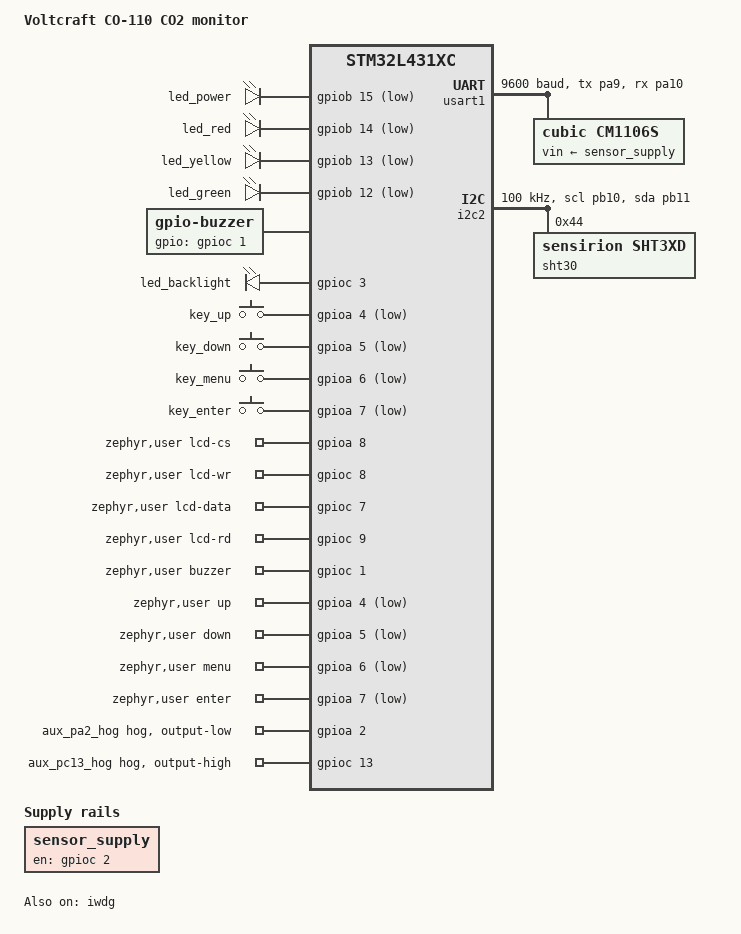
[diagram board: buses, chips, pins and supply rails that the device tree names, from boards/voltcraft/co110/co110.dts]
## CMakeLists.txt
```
# SPDX-License-Identifier: Apache-2.0
cmake_minimum_required(VERSION 3.20.0)

# Out-of-tree board definition lives next to the application
list(APPEND BOARD_ROOT ${CMAKE_CURRENT_SOURCE_DIR})
list(APPEND DTS_ROOT ${CMAKE_CURRENT_SOURCE_DIR})

find_package(Zephyr REQUIRED HINTS $ENV{ZEPHYR_BASE})
project(co110)

target_sources(app PRIVATE src/lcd.c src/display.c src/chart_level.c)
target_include_directories(app PRIVATE src)

if(CONFIG_APP_BITMAP_TEST)
  target_sources(app PRIVATE src/bitmap_test.c)
elseif(CONFIG_APP_DEMO)
  target_sources(app PRIVATE src/demo.c)
else()
  target_sources(app PRIVATE src/live.c src/watchdog.c src/startup.c src/sensor_tasks.c src/input.c src/led_swpwm.c src/ui.c src/history.c src/settings.c src/alarm.c src/leds.c src/sht30.c src/cm1106s.c)
endif()
```

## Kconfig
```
mainmenu "CO-110"

choice APP_VARIANT
	prompt "Application"
	default APP_LIVE

config APP_LIVE
	bool "Live display of the SHT30 and CM1106S sensors"

config APP_DEMO
	bool "Display demo with synthetic data"

config APP_BITMAP_TEST
	bool "LCD bit-map test"

endchoice

source "Kconfig.zephyr"
```

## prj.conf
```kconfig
CONFIG_GPIO=y
CONFIG_I2C=y
CONFIG_SENSOR=y
# SHT3XD driver is enabled by the devicetree node
# USART1 is wired to the CM1106S sensor, so there is no console on this board
CONFIG_SERIAL=y
CONFIG_UART_INTERRUPT_DRIVEN=y
CONFIG_CONSOLE=n
CONFIG_UART_CONSOLE=n

# Forces the MCU to keep the SWD/Debug clock enabled during low-power sleep states
CONFIG_DEBUG=y
CONFIG_PM_DEVICE=y

# software PWM of the LEDs runs from a 100 us timer
CONFIG_SYS_CLOCK_TICKS_PER_SEC=10000

# settings and chart history: Zephyr settings subsystem on NVS in the storage partition
CONFIG_FLASH=y
CONFIG_FLASH_MAP=y
CONFIG_NVS=y
CONFIG_SETTINGS=y
CONFIG_SETTINGS_NVS=y
# the whole storage partition (16 sectors of 2 KB) for NVS: wear leveling over all of it
CONFIG_SETTINGS_NVS_SECTOR_COUNT=16
# name lookups from RAM: the history uses 51 items, a lookup would read every name from flash otherwise
CONFIG_SETTINGS_NVS_NAME_CACHE=y
CONFIG_SETTINGS_NVS_NAME_CACHE_SIZE=128
CONFIG_MPU_ALLOW_FLASH_WRITE=y

# Zephyr LED API (driver: src/led_swpwm.c) and buzzer API (gpio-buzzer node in the board dts)
CONFIG_LED=y
CONFIG_BUZZER=y

# CM1106S supply: Zephyr regulator API (regulator-fixed node in the board dts)
CONFIG_REGULATOR=y

# touch keys: input subsystem (gpio-keys + longpress nodes in the board dts)
CONFIG_INPUT=y

# UI runs in the main thread (draws, writes NVS)
CONFIG_MAIN_STACK_SIZE=4096

# State Machine Framework (UI and start-up sequence)
CONFIG_SMF=y
CONFIG_SMF_ANCESTOR_SUPPORT=y

# watchdog: task watchdog on the IWDG, every thread feeds its own channel
CONFIG_WATCHDOG=y
CONFIG_TASK_WDT=y
CONFIG_TASK_WDT_HW_FALLBACK=y
```

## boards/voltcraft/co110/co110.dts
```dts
/dts-v1/;
#include <st/l4/stm32l431Xc.dtsi>
#include <st/l4/stm32l431r(b-c)tx-pinctrl.dtsi>
#include <zephyr/dt-bindings/gpio/gpio.h>
#include <zephyr/dt-bindings/i2c/i2c.h>
#include <zephyr/dt-bindings/input/input-event-codes.h>

/ {
	model = "Voltcraft CO-110 CO2 monitor";
	compatible = "voltcraft,co110";

	chosen {
		zephyr,sram = &sram0;
		zephyr,flash = &flash0;
	};

	aliases {
		led0 = &led_green;
	};

	/* LEDs are active low (anode to 3V3) */
	/* dimmable LEDs: software PWM driver (src/led_swpwm.c), Zephyr LED API */
	leds: leds {
		compatible = "voltcraft,swpwm-leds";
		led_power: led_power {	/* LD1, green */
			gpios = <&gpiob 15 GPIO_ACTIVE_LOW>;
		};
		led_red: led_red {	/* LD2 */
			gpios = <&gpiob 14 GPIO_ACTIVE_LOW>;
		};
		led_yellow: led_yellow {	/* LD3 */
			gpios = <&gpiob 13 GPIO_ACTIVE_LOW>;
		};
		led_green: led_green {	/* LD4 */
			gpios = <&gpiob 12 GPIO_ACTIVE_LOW>;
		};
	};

	/* active buzzer: Zephyr buzzer API */
	buzzer: buzzer {
		compatible = "gpio-buzzer";
		gpios = <&gpioc 1 GPIO_ACTIVE_HIGH>;
	};

	/* LCD backlight: Zephyr LED API (on/off), see src/backlight.h */
	backlight_leds: backlight {
		compatible = "gpio-leds";
		led_backlight: led_backlight {
			gpios = <&gpioc 3 GPIO_ACTIVE_HIGH>;
		};
	};

	/* CM1106S supply: regulator-fixed, off at boot; the cm1106s driver node switches it (PM resume/suspend) */
	sensor_supply: sensor-supply {
		compatible = "regulator-fixed";
		regulator-name = "cm1106s-supply";
		enable-gpios = <&gpioc 2 GPIO_ACTIVE_HIGH>;
	};

	/* touch controller outputs (FTC334C), active low, push to the input subsystem */
	keys: keys {
		compatible = "gpio-keys";
		debounce-interval-ms = <40>;
		key_up: key_up {
			gpios = <&gpioa 4 GPIO_ACTIVE_LOW>;
			zephyr,code = <INPUT_KEY_UP>;
		};
		key_down: key_down {
			gpios = <&gpioa 5 GPIO_ACTIVE_LOW>;
			zephyr,code = <INPUT_KEY_DOWN>;
		};
		key_menu: key_menu {
			gpios = <&gpioa 6 GPIO_ACTIVE_LOW>;
			zephyr,code = <INPUT_KEY_MENU>;
		};
		key_enter: key_enter {
			gpios = <&gpioa 7 GPIO_ACTIVE_LOW>;
			zephyr,code = <INPUT_KEY_ENTER>;
		};
	};

	/* MENU / ENTER: short press on release, long press (6 s) as F1 / F2 */
	longpress: longpress {
		compatible = "zephyr,input-longpress";
		input = <&keys>;
		input-codes = <INPUT_KEY_MENU>, <INPUT_KEY_ENTER>;
		short-codes = <INPUT_KEY_MENU>, <INPUT_KEY_ENTER>;
		long-codes = <INPUT_KEY_F1>, <INPUT_KEY_F2>;
		long-delay-ms = <6000>;
	};

	zephyr,user {
		/* HT1625-style LCD controller, bit-banged */
		lcd-cs-gpios = <&gpioa 8 GPIO_ACTIVE_HIGH>;	/* active low on the wire, driven raw */
		lcd-wr-gpios = <&gpioc 8 GPIO_ACTIVE_HIGH>;
		lcd-data-gpios = <&gpioc 7 GPIO_ACTIVE_HIGH>;
		lcd-rd-gpios = <&gpioc 9 GPIO_ACTIVE_HIGH>;

		buzzer-gpios = <&gpioc 1 GPIO_ACTIVE_HIGH>;

		/* touch controller outputs, active low; only used by the demo and bit-map test variants,
		 * the live application reads the keys through the "keys" gpio-keys node above */
		up-gpios = <&gpioa 4 GPIO_ACTIVE_LOW>;
		down-gpios = <&gpioa 5 GPIO_ACTIVE_LOW>;
		menu-gpios = <&gpioa 6 GPIO_ACTIVE_LOW>;
		enter-gpios = <&gpioa 7 GPIO_ACTIVE_LOW>;
	};
};

&flash0 {
	partitions {
		compatible = "fixed-partitions";
		#address-cells = <1>;
		#size-cells = <1>;

		/* last 32 KB (16 pages of 2 KB): settings and trend logs (NVS) */
		storage_partition: partition@38000 {
			label = "storage";
			reg = <0x00038000 DT_SIZE_K(32)>;
		};
	};
};

&iwdg {
	status = "okay";
};

&clk_lsi {
	status = "okay";
};

/* MSI range 10 = 32 MHz, no PLL (as in the original firmware) */
&clk_msi {
	status = "okay";
	msi-range = <10>;
};

&rcc {
	clocks = <&clk_msi>;
	clock-frequency = <DT_FREQ_M(32)>;
	ahb-prescaler = <1>;
	apb1-prescaler = <1>;
	apb2-prescaler = <1>;
};

&gpioa {
	status = "okay";

	/* PA2: driven low by the original firmware, purpose unknown */
	aux_pa2_hog: aux-pa2-hog {
		gpio-hog;
		gpios = <2 GPIO_ACTIVE_HIGH>;
		output-low;
	};
};

&gpiob { status = "okay"; };

&gpioc {
	status = "okay";

	/* PC13: set high by the original firmware, purpose unknown */
	aux_pc13_hog: aux-pc13-hog {
		gpio-hog;
		gpios = <13 GPIO_ACTIVE_HIGH>;
		output-high;
	};
};

/* CM1106S CO2 sensor, 9600 8N1 (driver: src/cm1106s.c, Zephyr sensor API) */
&usart1 {
	pinctrl-0 = <&usart1_tx_pa9 &usart1_rx_pa10>;
	pinctrl-names = "default";
	current-speed = <9600>;
	status = "okay";

	cm1106s: cm1106s {
		compatible = "cubic,cm1106s";
		vin-supply = <&sensor_supply>;
	};
};

/* SHT30 temperature/humidity sensor at 0x44 */
&i2c2 {
	pinctrl-0 = <&i2c2_scl_pb10 &i2c2_sda_pb11>;
	pinctrl-names = "default";
	clock-frequency = <I2C_BITRATE_STANDARD>;
	status = "okay";

	sht30: sht3xd@44 {
		compatible = "sensirion,sht3xd";
		reg = <0x44>;
	};
};
```

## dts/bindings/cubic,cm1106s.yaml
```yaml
description: |
  Cubic CM1106S NDIR CO2 sensor, UART interface (9600 8N1).
  Declare the node as a child of the UART it is connected to. The sensor supply
  can be given as a regulator; the driver switches it on when the device is
  resumed and off when it is suspended (PM_DEVICE_ACTION_SUSPEND), so the
  application can power cycle the sensor with pm_device_action_run().

  The sensor starts with auto calibration (ABC) on, cycle 7 days, base 400 ppm.
  If one of the abc-* properties below is given, the driver sends the complete ABC
  setting (missing values: the defaults above) after every power up, as soon as the
  sensor answers. Without any of them the sensor is left in its default state.

compatible: "cubic,cm1106s"

include: [sensor-device.yaml, uart-device.yaml]

properties:
  vin-supply:
    type: phandle
    description: Regulator that powers the sensor (optional)

  abc-enable:
    type: int
    enum: [0, 1]
    description: 1 = auto calibration on, 0 = off

  abc-cycle-days:
    type: int
    description: Auto calibration cycle in days (1 to 30)

  abc-base-ppm:
    type: int
    description: Auto calibration base value in ppm
```

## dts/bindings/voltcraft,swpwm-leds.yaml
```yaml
description: |
  Group of GPIO LEDs that can be dimmed. A software PWM timer (100 us step, 32 steps)
  runs inside the driver; the standard Zephyr LED API is used to set the brightness.
  The index of an LED in the LED API is the position of its child node.

compatible: "voltcraft,swpwm-leds"

include: base.yaml

child-binding:
  description: One LED
  properties:
    gpios:
      type: phandle-array
      required: true
      description: GPIO the LED is connected to (use GPIO_ACTIVE_LOW for LEDs to 3V3)
```

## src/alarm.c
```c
#include "alarm.h"

struct th {
	int low;
	int high;
};

static struct th table[PRESET_COUNT] = {
	{ 800, 1200 },   /* 0 human, user editable */
	{ 600, 900 },    /* 1 custom plant, user editable */
	{ 600, 900 },
	{ 800, 1000 },
	{ 1000, 1500 },
	{ 800, 1400 },
	{ 800, 1400 },
	{ 1200, 1800 },
	{ 800, 1200 },
	{ 800, 1200 },
};

void alarm_set_user_thresholds(int preset, int low, int high)
{
	if (preset == 0 || preset == 1) {
		table[preset].low = low;
		table[preset].high = high;
	}
}

void alarm_thresholds(int preset, int *low, int *high)
{
	if (preset < 0 || preset >= PRESET_COUNT) {
		preset = 0;
	}
	*low = table[preset].low;
	*high = table[preset].high;
}

enum zone alarm_evaluate(int co2, int preset, bool *buzzer_request)
{
	int low, high;

	alarm_thresholds(preset, &low, &high);
	*buzzer_request = false;

	if (preset == 0) {
		if (co2 < low) {
			return ZONE_OK;
		}
		if (co2 < high) {
			return ZONE_WARN;
		}
		*buzzer_request = true;
		return ZONE_ALERT;
	}

	if (co2 >= high) {
		return ZONE_WARN;
	}
	if (co2 > low) {
		return ZONE_OK;
	}
	*buzzer_request = true;
	return ZONE_ALERT;
}
```

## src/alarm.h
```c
#ifndef ALARM_H_
#define ALARM_H_

#include <stdbool.h>

/* Hardware independent CO2 zone logic of the original firmware. */
enum zone { ZONE_NONE = -1, ZONE_OK = 0, ZONE_WARN = 1, ZONE_ALERT = 2 };

#define PRESET_COUNT 10

/* user editable thresholds of preset 0 (human) and 1 (custom plant) */
void alarm_set_user_thresholds(int preset, int low, int high);

/* thresholds in ppm of a preset (0..9) */
void alarm_thresholds(int preset, int *low, int *high);

/*
 * preset 0 (human):  co2 < low OK, low <= co2 < high WARN, co2 >= high ALERT + buzzer
 * preset 1..9 (plant): low < co2 < high OK, co2 <= low ALERT + buzzer, co2 >= high WARN
 */
enum zone alarm_evaluate(int co2, int preset, bool *buzzer_request);

#endif
```

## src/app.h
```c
#ifndef APP_H_
#define APP_H_

#include <stdbool.h>
#include <zephyr/kernel.h>

/* messages for the UI thread (the main thread owns the display and all UI state) */
enum msg_type {
	MSG_KEY,            /* a = enum ui_event */
	MSG_COMBO,          /* UP + DOWN held: toggle dark mode */
	MSG_TH,             /* a = temperature in 0.1 degC, b = RH in % (SHT30, without offsets) */
	MSG_CO2,            /* a = ppm */
	MSG_CO2_LOST,       /* no valid CO2 frame for 40 polls, the sensor is being power cycled */
	MSG_BACKLIGHT_OFF,  /* 63 s timer expired */
	MSG_ALARM_BEEP,     /* periodic alarm beep timer */
	MSG_CALI_RESULT,    /* a = 1: the 400 ppm calibration was accepted, 0: the sensor did not confirm it */
};

struct msg {
	enum msg_type type;
	int a;
	int b;
};

extern struct k_msgq app_q;

static inline void co110_post(enum msg_type type, int a, int b)
{
	struct msg m = { type, a, b };

	(void)k_msgq_put(&app_q, &m, K_NO_WAIT); /* safe from threads, timers and ISRs */
}

/* UI -> CM1106S thread */
extern struct k_sem cali_sem;       /* given when the 400 ppm calibration has to be sent */
extern volatile bool co2_suspended; /* true during the 250 s calibration countdown */

/* touch keys: input subsystem callbacks, posts MSG_KEY / MSG_COMBO */
int co110_input_init(void);

#endif
```

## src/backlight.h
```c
#ifndef BACKLIGHT_H_
#define BACKLIGHT_H_

/* LCD backlight through the standard Zephyr LED API (gpio-leds node "backlight_leds" in the board dts) */
#include <stdbool.h>
#include <zephyr/device.h>
#include <zephyr/drivers/led.h>

#define BL_DEV DEVICE_DT_GET(DT_NODELABEL(backlight_leds))
#define BL_IDX DT_NODE_CHILD_IDX(DT_NODELABEL(led_backlight))

static inline void backlight_set(bool on)
{
	if (on) {
		(void)led_on(BL_DEV, BL_IDX);
	} else {
		(void)led_off(BL_DEV, BL_IDX);
	}
}

#endif
```

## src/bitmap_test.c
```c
/*
 * CO-110 LCD bit-map test.
 *
 * Start-up: LED chase, then all segments on for 2 s, then single-bit mode.
 *
 * Keys (touch pads):
 *   UP / DOWN  next / previous buffer bit (auto repeat); bit 7 -> next byte
 *   MENU       short: jump to bit 0 of the next byte
 *              long (1 s): cycle display mode  SINGLE -> CUMULATIVE -> INVERTED
 *   ENTER      short: cycle what the 4 LEDs show (beeps 1/2/3 times)
 *              long (1 s): toggle backlight
 *
 * LED field 1 (1 beep): bit index 0..7 on LD4 LD3 LD2 (LD4 = bit 0), LD1 off
 * LED field 2 (2 beeps): byte & 0x0F on LD4..LD1 (LD4 = bit 0)
 * LED field 3 (3 beeps): byte >> 4 (0..2) on LD4 LD3, LD2 always on as marker
 *
 * Write down the (byte, bit) of every segment you see light up.
 */
#include <zephyr/kernel.h>
#include <zephyr/drivers/gpio.h>
#include "lcd.h"
#include "backlight.h"

#define U DT_PATH(zephyr_user)
#define GPIO_OUT(name) GPIO_DT_SPEC_GET(U, name)

static const struct gpio_dt_spec buzzer = GPIO_OUT(buzzer_gpios);

/* index 0..3 = LD4 (green), LD3 (yellow), LD2 (red), LD1 (power) */
static const struct gpio_dt_spec leds[4] = {
	GPIO_DT_SPEC_GET(DT_NODELABEL(led_green), gpios),
	GPIO_DT_SPEC_GET(DT_NODELABEL(led_yellow), gpios),
	GPIO_DT_SPEC_GET(DT_NODELABEL(led_red), gpios),
	GPIO_DT_SPEC_GET(DT_NODELABEL(led_power), gpios),
};

enum { KB_UP, KB_DOWN, KB_MENU, KB_ENTER, KB_COUNT };

static const struct gpio_dt_spec keys[KB_COUNT] = {
	GPIO_OUT(up_gpios), GPIO_OUT(down_gpios),
	GPIO_OUT(menu_gpios), GPIO_OUT(enter_gpios),
};

enum mode { M_SINGLE, M_CUMUL, M_INVERT, M_COUNT };

#define TICK_MS 10
#define LONG_TICKS 100       /* 1 s */
#define REPEAT_START 40      /* 0.4 s */
#define REPEAT_EVERY 8       /* 80 ms */
#define TOTAL_BITS (LCD_FB_SIZE * 8)

static void leds_show(unsigned int v)
{
	for (int i = 0; i < 4; i++) {
		gpio_pin_set_dt(&leds[i], (v >> i) & 1);
	}
}

static void beep(int n)
{
	for (int i = 0; i < n; i++) {
		gpio_pin_set_dt(&buzzer, 1);
		k_msleep(50);
		gpio_pin_set_dt(&buzzer, 0);
		k_msleep(150);
	}
}

static void out_init(const struct gpio_dt_spec *p, int level)
{
	gpio_pin_configure_dt(p, level ? GPIO_OUTPUT_ACTIVE : GPIO_OUTPUT_INACTIVE);
}

int main(void)
{
	/* board state like the original firmware after MX_GPIO_Init */
	out_init(&buzzer, 0);
	backlight_set(true);
	for (int i = 0; i < 4; i++) {
		out_init(&leds[i], 0);
	}
	for (int i = 0; i < KB_COUNT; i++) {
		gpio_pin_configure_dt(&keys[i], GPIO_INPUT);
	}

	if (lcd_init() != 0) {
		leds_show(0xF); /* all LEDs on = LCD GPIO not ready */
		return 0;
	}

	/* LED chase, then all segments on */
	for (int i = 3; i >= 0; i--) {
		leds_show(BIT(i));
		k_msleep(250);
	}
	lcd_fill(0xFF);
	lcd_flush();
	leds_show(0xF);
	k_msleep(2000);

	unsigned int idx = 0;
	enum mode mode = M_SINGLE;
	int field = 0;
	bool bl = true;
	bool dirty = true;
	int held[KB_COUNT] = { 0 };
	bool long_done[KB_COUNT] = { false };

	while (1) {
		for (int k = 0; k < KB_COUNT; k++) {
			bool pressed = gpio_pin_get_dt(&keys[k]) > 0;

			if (pressed) {
				held[k]++;
				if (k == KB_UP || k == KB_DOWN) {
					bool fire = (held[k] == 1) ||
						    (held[k] > REPEAT_START &&
						     ((held[k] - REPEAT_START) % REPEAT_EVERY) == 0);
					if (fire) {
						if (k == KB_UP) {
							idx = (idx + 1) % TOTAL_BITS;
						} else {
							idx = (idx + TOTAL_BITS - 1) % TOTAL_BITS;
						}
						dirty = true;
					}
				} else if (held[k] == LONG_TICKS) {
					long_done[k] = true;
					if (k == KB_MENU) {
						mode = (mode + 1) % M_COUNT;
						dirty = true;
					} else {
						bl = !bl;
						backlight_set(bl);
					}
				}
			} else {
				if (held[k] > 2 && !long_done[k]) {
					if (k == KB_MENU) {
						idx = ((idx / 8) + 1) * 8 % TOTAL_BITS;
						dirty = true;
					} else if (k == KB_ENTER) {
						field = (field + 1) % 3;
						dirty = true;
						beep(field + 1);
					}
				}
				held[k] = 0;
				long_done[k] = false;
			}
		}

		if (dirty) {
			unsigned int byte = idx / 8, bit = idx % 8;

			switch (mode) {
			case M_SINGLE:
				lcd_fill(0x00);
				lcd_set(byte, bit, true);
				break;
			case M_CUMUL:
				lcd_fill(0x00);
				for (unsigned int i = 0; i <= idx; i++) {
					lcd_set(i / 8, i % 8, true);
				}
				break;
			default:
				lcd_fill(0xFF);
				lcd_set(byte, bit, false);
				break;
			}
			lcd_flush();

			if (field == 0) {
				leds_show(bit & 7);
			} else if (field == 1) {
				leds_show(byte & 0xF);
			} else {
				leds_show((byte >> 4) | BIT(2));
			}
			dirty = false;
		}
		k_msleep(TICK_MS);
	}
	return 0;
}
```

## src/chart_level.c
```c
#include "chart_level.h"

int co110_chart_level(int vmin, int vmax, int value)
{
	const int range = vmax - vmin;
	const int d = (value - vmin) * CHART_STEPS; /* the value is at d / range steps above vmin */

	if (value < vmin) {
		return 0;
	}
	if (d < range) {
		return 1;
	}
	if (vmax <= value) {
		return 8;
	}
	for (int k = 1; k < 8; k++) {
		if (d >= k * range && d <= (k + 1) * range) {
			return k + 1;
		}
	}
	return 8;
}
```

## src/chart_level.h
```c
#ifndef CHART_LEVEL_H_
#define CHART_LEVEL_H_

/*
 * Bar height 0..8 of a value inside a chart whose scale runs from vmin to vmax, as the original
 * firmware computes it (FUN_08000d20): the range is split into 8 equal steps,
 *   value < vmin              -> 0
 *   value < vmin + 1 step     -> 1
 *   vmax <= value             -> 8      (also a chart of one value or of equal values)
 *   otherwise the step the value falls into (2..8)
 * The same function draws the dot columns (the value of the column) and the eight row arrows
 * (the value 1000, the 1000 ppm mark of the CO2 scale).
 */
int co110_chart_level(int vmin, int vmax, int value);

/*
 * The original divides the range (max - min) by a double constant stored at flash address
 * 0x08000E38 (FUN_0800049c is a double division, called from FUN_08000d20) to get the step.
 * Read from the flash image: 8.0 (bytes 00 00 00 00 00 00 20 40), so 8 equal steps.
 */
#define CHART_STEPS 8

#endif
```

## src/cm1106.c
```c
#include <errno.h>
#include <zephyr/kernel.h>
#include <zephyr/device.h>
#include <zephyr/drivers/uart.h>
#include <zephyr/sys/ring_buffer.h>
#include "sensors.h"

static const struct device *const uart = DEVICE_DT_GET(DT_NODELABEL(usart1));

/* received bytes: the ISR is the only producer, the sensor thread the only consumer */
#define RX_SIZE 64
RING_BUF_DECLARE(cm1106_rx_rb, RX_SIZE);

/* drop everything received so far */
static void rx_flush(void)
{
	uint8_t tmp[RX_SIZE];

	while (ring_buf_get(&cm1106_rx_rb, tmp, sizeof(tmp)) > 0) {
	}
}

static void uart_isr(const struct device *dev, void *user)
{
	ARG_UNUSED(user);

	uart_irq_update(dev);
	while (uart_irq_rx_ready(dev)) {
		uint8_t c[16];
		int n = uart_fifo_read(dev, c, sizeof(c));

		if (n <= 0) {
			break;
		}
		ring_buf_put(&cm1106_rx_rb, c, n); /* a full buffer drops the new bytes */
	}
}

int cm1106_init(void)
{
	if (!device_is_ready(uart)) {
		return -ENODEV;
	}
	uart_irq_callback_user_data_set(uart, uart_isr, NULL);
	uart_irq_rx_enable(uart);
	return 0;
}

void cm1106_request(void)
{
	static const uint8_t req[4] = { 0x11, 0x01, 0x01, 0xED };

	rx_flush(); /* drop old bytes */
	for (int i = 0; i < 4; i++) {
		uart_poll_out(uart, req[i]);
	}
}

bool cm1106_get_result(int *ppm)
{
	uint8_t f[RX_SIZE];
	int n = ring_buf_get(&cm1106_rx_rb, f, sizeof(f));

	for (int i = 0; i + 8 <= n; i++) {
		if (f[i] != 0x16 || f[i + 1] != 0x05 || f[i + 2] != 0x01) {
			continue;
		}
		uint8_t sum = 0;

		for (int k = 0; k < 7; k++) {
			sum += f[i + k];
		}
		if ((uint8_t)(0x100 - sum) == f[i + 7]) {
			*ppm = (f[i + 3] << 8) | f[i + 4];
			return true;
		}
	}
	return false;
}

bool cm1106_calibrate(int ppm)
{
	uint8_t f[6] = { 0x11, 0x03, 0x03, (uint8_t)(ppm >> 8), (uint8_t)ppm, 0 };
	uint8_t sum = 0;

	for (int i = 0; i < 5; i++) {
		sum += f[i];
	}
	f[5] = (uint8_t)(0x100 - sum);

	for (int attempt = 0; attempt < 10; attempt++) {
		rx_flush();
		for (int i = 0; i < 6; i++) {
			uart_poll_out(uart, f[i]);
		}
		k_msleep(50);

		uint8_t r[RX_SIZE];
		int n = ring_buf_get(&cm1106_rx_rb, r, sizeof(r));

		for (int i = 0; i + 4 <= n; i++) {
			if (r[i] == 0x16 && r[i + 1] == 0x01 && r[i + 2] == 0x03 && r[i + 3] == 0xE6) {
				return true;
			}
		}
	}
	return false;
}
```

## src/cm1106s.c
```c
/*
 * Cubic CM1106S CO2 sensor driver (UART, 9600 8N1), Zephyr sensor API.
 * Protocol: datasheet CM1106S-W V0.1 (2020-06-18), section "UART Communication Protocol".
 *
 *   request  11 LEN CMD DATA.. CS     LEN = 1 + number of data bytes
 *   reply    16 LEN CMD DATA.. CS
 *   CS = 256 - (sum of all bytes before it) mod 256, i.e. the sum of a whole frame is 0 mod 256
 *
 *   CMD 0x01  read CO2         request 11 01 01 ED      reply 16 05 01 D1 D2 D3 D4 CS, CO2 = D1*256 + D2 ppm
 *   CMD 0x03  calibrate        request 11 03 03 HI LO CS  (target 400 to 1500 ppm)   reply 16 01 03 E6
 *   CMD 0x10  ABC settings     request 11 07 10 64 EN DAYS BH BL 64 CS               reply 16 01 10 D9
 *   CMD 0x1F  serial number    request 11 01 1F CF      reply 16 0B 1F SN1..SN5 (2 bytes each) CS
 *   CMD 0x1E  software version request 11 01 1E D0      reply 16 0C 1E 10 ASCII bytes, 1 reserved, CS
 *
 * API:
 *   sensor_sample_fetch_chan(dev, SENSOR_CHAN_CO2) + sensor_channel_get(): CO2 in ppm (val1)
 *   sensor_attr_set(dev, SENSOR_CHAN_CO2, SENSOR_ATTR_CALIBRATION, val1 = reference ppm)
 *   ABC attributes and serial number / version functions: see cm1106s.h
 * Power: PM_DEVICE_ACTION_SUSPEND / RESUME switch the optional vin-supply regulator.
 *
 * Not built or tested on the device when this was written (the read and calibration commands
 * are the ones the original firmware uses; ABC, serial number and version are new).
 */
#define DT_DRV_COMPAT cubic_cm1106s

#include <errno.h>
#include <string.h>
#include <zephyr/kernel.h>
#include <zephyr/device.h>
#include <zephyr/drivers/uart.h>
#include <zephyr/drivers/sensor.h>
#include <zephyr/drivers/regulator.h>
#include <zephyr/pm/device.h>
#include <zephyr/sys/ring_buffer.h>
#include "cm1106s.h"

#define RX_SIZE            64
#define MEASURE_TIMEOUT_MS 300
#define CMD_TIMEOUT_MS     300 /* every other command; the original firmware waited 50 ms per calibration try */

#define FRAME_REQ  0x11
#define FRAME_RSP  0x16
#define CMD_READ_CO2  0x01
#define CMD_CALIBRATE 0x03
#define CMD_ABC       0x10
#define CMD_VERSION   0x1E
#define CMD_SERIAL    0x1F

#define MAX_TX_DATA 8
#define MAX_RX_DATA 11

#define CAL_MIN_PPM 400
#define CAL_MAX_PPM 1500
#define ABC_MIN_DAYS 1
#define ABC_MAX_DAYS 30

/* datasheet defaults of the auto calibration */
#define ABC_DEFAULT_ENABLE 1
#define ABC_DEFAULT_DAYS   7
#define ABC_DEFAULT_BASE   400

struct cm1106s_abc {
	uint8_t enable; /* 1 = on */
	uint8_t days;
	uint16_t base_ppm;
};

struct cm1106s_config {
	const struct device *uart;
	const struct device *supply; /* NULL when the sensor is always powered */
	bool abc_from_dt;            /* send the ABC setting after every power up */
	struct cm1106s_abc abc_dt;
};

struct cm1106s_data {
	struct ring_buf rb;           /* ISR is the only producer, the caller the only consumer */
	uint8_t rb_mem[RX_SIZE];
	struct k_sem rx_sem;          /* given by the ISR for every received chunk */
	struct k_mutex lock;          /* one transaction at a time */
	int32_t ppm;
	bool active;
	struct cm1106s_abc abc;       /* what the sensor has been told last (it cannot be read back) */
	bool abc_pending;             /* send the ABC setting after the next successful reading */
};

static uint8_t cm1106s_sum(const uint8_t *f, size_t len)
{
	uint8_t sum = 0;

	for (size_t i = 0; i < len; i++) {
		sum += f[i];
	}
	return sum;
}

static void cm1106s_isr(const struct device *uart, void *user)
{
	const struct device *dev = user;
	struct cm1106s_data *data = dev->data;

	uart_irq_update(uart);
	while (uart_irq_rx_ready(uart)) {
		uint8_t c[16];
		int n = uart_fifo_read(uart, c, sizeof(c));

		if (n <= 0) {
			break;
		}
		ring_buf_put(&data->rb, c, n); /* a full buffer drops the new bytes */
		k_sem_give(&data->rx_sem);
	}
}

/* drop everything received so far; the RX interrupt is off while the buffer is reset */
static void cm1106s_flush(const struct device *dev)
{
	const struct cm1106s_config *cfg = dev->config;
	struct cm1106s_data *data = dev->data;
	uint8_t c;

	uart_irq_rx_disable(cfg->uart);
	while (uart_fifo_read(cfg->uart, &c, 1) > 0) {
	}
	ring_buf_reset(&data->rb);
	k_sem_reset(&data->rx_sem);
	uart_irq_rx_enable(cfg->uart);
}

/*
 * One command: send 11 LEN CMD tx.. CS, wait for 16 LEN CMD rx.. CS (rx_len data bytes).
 * check_cs: verify the checksum of the reply. The caller holds the lock.
 */
static int cm1106s_cmd_locked(const struct device *dev, uint8_t cmd, const uint8_t *tx,
			      size_t tx_len, uint8_t *rx, size_t rx_len, int timeout_ms,
			      bool check_cs)
{
	const struct cm1106s_config *cfg = dev->config;
	struct cm1106s_data *data = dev->data;
	uint8_t req[4 + MAX_TX_DATA];
	const uint8_t head[3] = { FRAME_RSP, (uint8_t)(rx_len + 1), cmd };
	const size_t req_len = 4 + tx_len;
	const size_t rsp_len = 4 + rx_len;
	uint8_t buf[RX_SIZE];
	size_t n = 0;

	if (tx_len > MAX_TX_DATA || rx_len > MAX_RX_DATA) {
		return -EINVAL;
	}
	if (!data->active) {
		return -EACCES; /* suspended: sensor not powered */
	}

	req[0] = FRAME_REQ;
	req[1] = (uint8_t)(tx_len + 1);
	req[2] = cmd;
	if (tx_len > 0) {
		memcpy(&req[3], tx, tx_len);
	}
	req[req_len - 1] = (uint8_t)(0x100 - cm1106s_sum(req, req_len - 1));

	cm1106s_flush(dev);
	for (size_t i = 0; i < req_len; i++) {
		uart_poll_out(cfg->uart, req[i]);
	}

	int64_t end = k_uptime_get() + timeout_ms;

	while (1) {
		n += ring_buf_get(&data->rb, buf + n, sizeof(buf) - n);
		for (size_t i = 0; i + rsp_len <= n; i++) {
			if (memcmp(&buf[i], head, 3) == 0 &&
			    (!check_cs || cm1106s_sum(&buf[i], rsp_len) == 0)) {
				if (rx_len > 0) {
					memcpy(rx, &buf[i + 3], rx_len);
				}
				return 0;
			}
		}
		int64_t left = end - k_uptime_get();

		if (n >= sizeof(buf) || left <= 0) {
			return (n > 0) ? -EBADMSG : -ETIMEDOUT; /* bytes seen, but no valid frame */
		}
		(void)k_sem_take(&data->rx_sem, K_MSEC(left));
	}
}

static int cm1106s_cmd(const struct device *dev, uint8_t cmd, const uint8_t *tx, size_t tx_len,
		       uint8_t *rx, size_t rx_len, int timeout_ms, bool check_cs)
{
	struct cm1106s_data *data = dev->data;
	int ret;

	k_mutex_lock(&data->lock, K_FOREVER);
	ret = cm1106s_cmd_locked(dev, cmd, tx, tx_len, rx, rx_len, timeout_ms, check_cs);
	k_mutex_unlock(&data->lock);
	return ret;
}

/* send the ABC setting: 11 07 10 64 EN DAYS BH BL 64 CS, reply 16 01 10 D9 */
static int cm1106s_send_abc(const struct device *dev, const struct cm1106s_abc *abc)
{
	const uint8_t tx[6] = { 0x64, abc->enable ? 0 : 2, abc->days, (uint8_t)(abc->base_ppm >> 8),
				(uint8_t)abc->base_ppm, 0x64 };

	return cm1106s_cmd(dev, CMD_ABC, tx, sizeof(tx), NULL, 0, CMD_TIMEOUT_MS, true);
}

static int cm1106s_sample_fetch(const struct device *dev, enum sensor_channel chan)
{
	struct cm1106s_data *data = dev->data;
	uint8_t r[4];
	int ret;

	if (chan != SENSOR_CHAN_CO2 && chan != SENSOR_CHAN_ALL) {
		return -ENOTSUP;
	}
	ret = cm1106s_cmd(dev, CMD_READ_CO2, NULL, 0, r, sizeof(r), MEASURE_TIMEOUT_MS, true);
	if (ret != 0) {
		return ret;
	}
	data->ppm = (r[0] << 8) | r[1]; /* r[2], r[3] are reserved */

	/* the sensor answers now: send the ABC setting that has to follow every power up */
	if (data->abc_pending) {
		struct cm1106s_abc abc = data->abc;

		if (cm1106s_send_abc(dev, &abc) == 0) {
			data->abc_pending = false;
		}
	}
	return 0;
}

static int cm1106s_channel_get(const struct device *dev, enum sensor_channel chan,
			       struct sensor_value *val)
{
	struct cm1106s_data *data = dev->data;

	if (chan != SENSOR_CHAN_CO2) {
		return -ENOTSUP;
	}
	val->val1 = data->ppm;
	val->val2 = 0;
	return 0;
}

static int cm1106s_abc_set(const struct device *dev, enum sensor_attribute attr,
			   const struct sensor_value *val)
{
	struct cm1106s_data *data = dev->data;
	struct cm1106s_abc abc = data->abc;
	int ret;

	switch ((int)attr) {
	case SENSOR_ATTR_CM1106S_ABC_ENABLE:
		if (val->val1 != 0 && val->val1 != 1) {
			return -EINVAL;
		}
		abc.enable = val->val1;
		break;
	case SENSOR_ATTR_CM1106S_ABC_CYCLE_DAYS:
		if (val->val1 < ABC_MIN_DAYS || val->val1 > ABC_MAX_DAYS) {
			return -EINVAL;
		}
		abc.days = val->val1;
		break;
	case SENSOR_ATTR_CM1106S_ABC_BASE_PPM:
		/* the datasheet does not give a range, only the frame format limits it */
		if (val->val1 < 0 || val->val1 > 0xFFFF) {
			return -EINVAL;
		}
		abc.base_ppm = val->val1;
		break;
	default:
		return -ENOTSUP;
	}

	ret = cm1106s_send_abc(dev, &abc);
	if (ret == 0) {
		data->abc = abc;
		data->abc_pending = false; /* the sensor has the complete setting now */
	}
	return ret;
}

static int cm1106s_attr_set(const struct device *dev, enum sensor_channel chan,
			    enum sensor_attribute attr, const struct sensor_value *val)
{
	if (chan != SENSOR_CHAN_CO2) {
		return -ENOTSUP;
	}
	if (attr == SENSOR_ATTR_CALIBRATION) {
		/* datasheet 4.3: target 400 to 1500 ppm; the ambient air must have been at the target
		 * value for 2 minutes before this is sent */
		if (val->val1 < CAL_MIN_PPM || val->val1 > CAL_MAX_PPM) {
			return -EINVAL;
		}

		const uint8_t tx[2] = { (uint8_t)(val->val1 >> 8), (uint8_t)val->val1 };

		return cm1106s_cmd(dev, CMD_CALIBRATE, tx, sizeof(tx), NULL, 0, CMD_TIMEOUT_MS, true);
	}
	return cm1106s_abc_set(dev, attr, val);
}

static int cm1106s_attr_get(const struct device *dev, enum sensor_channel chan,
			    enum sensor_attribute attr, struct sensor_value *val)
{
	struct cm1106s_data *data = dev->data;

	if (chan != SENSOR_CHAN_CO2) {
		return -ENOTSUP;
	}
	val->val2 = 0;
	switch ((int)attr) {
	case SENSOR_ATTR_CM1106S_ABC_ENABLE:
		val->val1 = data->abc.enable;
		return 0;
	case SENSOR_ATTR_CM1106S_ABC_CYCLE_DAYS:
		val->val1 = data->abc.days;
		return 0;
	case SENSOR_ATTR_CM1106S_ABC_BASE_PPM:
		val->val1 = data->abc.base_ppm;
		return 0;
	default:
		return -ENOTSUP;
	}
}

int cm1106s_read_serial(const struct device *dev, uint16_t sn[5])
{
	uint8_t r[10];
	int ret = cm1106s_cmd(dev, CMD_SERIAL, NULL, 0, r, sizeof(r), CMD_TIMEOUT_MS, true);

	if (ret == 0) {
		for (int i = 0; i < 5; i++) {
			sn[i] = (r[2 * i] << 8) | r[2 * i + 1]; /* high byte first, like every 2 byte value */
		}
	}
	return ret;
}

int cm1106s_read_version(const struct device *dev, char version[CM1106S_VERSION_LEN])
{
	uint8_t r[11];
	int ret = cm1106s_cmd(dev, CMD_VERSION, NULL, 0, r, sizeof(r), CMD_TIMEOUT_MS,
			    false /* the checksum of the datasheet example does not add up */);

	if (ret == 0) {
		memcpy(version, r, CM1106S_VERSION_LEN - 1); /* r[10] is reserved */
		version[CM1106S_VERSION_LEN - 1] = '\0';
	}
	return ret;
}

static int cm1106s_pm_action(const struct device *dev, enum pm_device_action action)
{
	const struct cm1106s_config *cfg = dev->config;
	struct cm1106s_data *data = dev->data;
	int ret = 0;

	k_mutex_lock(&data->lock, K_FOREVER);
	switch (action) {
	case PM_DEVICE_ACTION_RESUME:
		if (cfg->supply != NULL) {
			ret = regulator_enable(cfg->supply);
		}
		if (ret == 0) {
			data->active = true;
			data->abc = cfg->abc_dt; /* a power cycle may reset the sensor settings */
			data->abc_pending = cfg->abc_from_dt;
			cm1106s_flush(dev); /* also enables the RX interrupt */
		}
		break;
	case PM_DEVICE_ACTION_SUSPEND:
		data->active = false;
		uart_irq_rx_disable(cfg->uart);
		if (cfg->supply != NULL) {
			ret = regulator_disable(cfg->supply);
		}
		break;
	default:
		ret = -ENOTSUP;
		break;
	}
	k_mutex_unlock(&data->lock);
	return ret;
}

static int cm1106s_init(const struct device *dev)
{
	const struct cm1106s_config *cfg = dev->config;
	struct cm1106s_data *data = dev->data;
	int ret;

	if (!device_is_ready(cfg->uart) || (cfg->supply != NULL && !device_is_ready(cfg->supply))) {
		return -ENODEV;
	}
	ring_buf_init(&data->rb, sizeof(data->rb_mem), data->rb_mem);
	k_sem_init(&data->rx_sem, 0, 1);
	k_mutex_init(&data->lock);

	ret = uart_irq_callback_user_data_set(cfg->uart, cm1106s_isr, (void *)dev);
	if (ret < 0) {
		return ret;
	}
	return pm_device_driver_init(dev, cm1106s_pm_action); /* starts active: RESUME */
}

static DEVICE_API(sensor, cm1106s_api) = {
	.sample_fetch = cm1106s_sample_fetch,
	.channel_get = cm1106s_channel_get,
	.attr_set = cm1106s_attr_set,
	.attr_get = cm1106s_attr_get,
};

#define CM1106S_HAS_ABC(inst)                                                                      \
	(DT_INST_NODE_HAS_PROP(inst, abc_enable) || DT_INST_NODE_HAS_PROP(inst, abc_cycle_days) || \
	 DT_INST_NODE_HAS_PROP(inst, abc_base_ppm))

#define CM1106S_INIT(inst)                                                                         \
	BUILD_ASSERT(DT_INST_PROP_OR(inst, abc_cycle_days, ABC_DEFAULT_DAYS) >= ABC_MIN_DAYS &&    \
			     DT_INST_PROP_OR(inst, abc_cycle_days, ABC_DEFAULT_DAYS) <= ABC_MAX_DAYS,\
		     "abc-cycle-days must be 1 to 30");                                            \
	static struct cm1106s_data cm1106s_data_##inst;                                            \
	static const struct cm1106s_config cm1106s_cfg_##inst = {                                  \
		.uart = DEVICE_DT_GET(DT_INST_BUS(inst)),                                          \
		.supply = COND_CODE_1(DT_INST_NODE_HAS_PROP(inst, vin_supply),                     \
				      (DEVICE_DT_GET(DT_INST_PHANDLE(inst, vin_supply))), (NULL)), \
		.abc_from_dt = CM1106S_HAS_ABC(inst),                                              \
		.abc_dt = {                                                                        \
			.enable = DT_INST_PROP_OR(inst, abc_enable, ABC_DEFAULT_ENABLE),           \
			.days = DT_INST_PROP_OR(inst, abc_cycle_days, ABC_DEFAULT_DAYS),           \
			.base_ppm = DT_INST_PROP_OR(inst, abc_base_ppm, ABC_DEFAULT_BASE),         \
		},                                                                                 \
	};                                                                                         \
	PM_DEVICE_DT_INST_DEFINE(inst, cm1106s_pm_action);                                         \
	SENSOR_DEVICE_DT_INST_DEFINE(inst, cm1106s_init, PM_DEVICE_DT_INST_GET(inst),              \
				     &cm1106s_data_##inst, &cm1106s_cfg_##inst, POST_KERNEL,       \
				     CONFIG_SENSOR_INIT_PRIORITY, &cm1106s_api);

DT_INST_FOREACH_STATUS_OKAY(CM1106S_INIT)
```

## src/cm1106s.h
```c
/*
 * Cubic CM1106S CO2 sensor: driver specific parts of the Zephyr sensor API.
 * Standard parts: sensor_sample_fetch_chan() / sensor_channel_get(SENSOR_CHAN_CO2) in ppm,
 * sensor_attr_set(SENSOR_CHAN_CO2, SENSOR_ATTR_CALIBRATION) = zero point calibration (see driver).
 */
#ifndef CM1106S_H_
#define CM1106S_H_

#include <stdint.h>
#include <zephyr/device.h>
#include <zephyr/drivers/sensor.h>

/* Auto calibration (ABC), command 0x10. Use with sensor_attr_set() / sensor_attr_get(),
 * channel SENSOR_CHAN_CO2. The sensor has no command to read these values back, so the
 * driver keeps the values it has sent (datasheet defaults until something is set). */
enum sensor_attribute_cm1106s {
	/* val1: 1 = ABC on, 0 = ABC off (sensor default: on) */
	SENSOR_ATTR_CM1106S_ABC_ENABLE = SENSOR_ATTR_PRIV_START,
	/* val1: calibration cycle in days, 1 to 30 (sensor default: 7) */
	SENSOR_ATTR_CM1106S_ABC_CYCLE_DAYS,
	/* val1: ABC base value in ppm (sensor default: 400) */
	SENSOR_ATTR_CM1106S_ABC_BASE_PPM,
};

#define CM1106S_VERSION_LEN 11 /* 10 ASCII characters + NUL */

/* serial number: five numbers of 0 to 9999 each (a 20 digit number) */
int cm1106s_read_serial(const struct device *dev, uint16_t sn[5]);

/* software version string, e.g. "CM V0.0.20" */
int cm1106s_read_version(const struct device *dev, char version[CM1106S_VERSION_LEN]);

#endif
```

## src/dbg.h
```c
#ifndef DBG_H_
#define DBG_H_

#include <soc.h>

/*
 * Keep the debug port alive in Sleep/Stop/Standby. Without this the core's
 * clock is gated every time Zephyr's idle thread executes WFI, and the ST-Link
 * can no longer connect ("Unable to get core ID") unless it can pull NRST.
 */
static inline void debug_in_low_power(void)
{
	DBGMCU->CR |= DBGMCU_CR_DBG_SLEEP | DBGMCU_CR_DBG_STOP | DBGMCU_CR_DBG_STANDBY;
}

#endif
```

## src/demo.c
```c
/*
 * Display demo: draws a typical CO-110 main screen with synthetic data.
 *   UP      next chart zoom (5 s, 5 min, 2 h, 0.5 d per division)
 *   DOWN    next chart quantity (CO2, RH, temperature)
 *   MENU    next menu underline (none, ALARM, PLANT, LOG, CALI, unit, ADV)
 *   ENTER   short: alarm muted on/off; long (1 s): human <-> plant preset
 * The CO2 value counts up by itself so the digits change; the chart column
 * and the bell blink at 0.5 s.
 */
#include <zephyr/kernel.h>
#include <zephyr/drivers/gpio.h>
#include "lcd.h"
#include "backlight.h"
#include "display.h"

#define U DT_PATH(zephyr_user)
#define GPIO_OUT(name) GPIO_DT_SPEC_GET(U, name)

static const struct gpio_dt_spec buzzer = GPIO_OUT(buzzer_gpios);

enum { KB_UP, KB_DOWN, KB_MENU, KB_ENTER, KB_COUNT };
static const struct gpio_dt_spec keys[KB_COUNT] = {
	GPIO_OUT(up_gpios), GPIO_OUT(down_gpios), GPIO_OUT(menu_gpios), GPIO_OUT(enter_gpios),
};

#define TICK_MS 10
#define LONG_TICKS 100

int main(void)
{
	gpio_pin_configure_dt(&buzzer, GPIO_OUTPUT_INACTIVE);
	backlight_set(true);
	for (int i = 0; i < KB_COUNT; i++) {
		gpio_pin_configure_dt(&keys[i], GPIO_INPUT);
	}
	if (lcd_init() != 0) {
		return 0;
	}

	int zoom = 0, quantity = DISP_Q_CO2, menu = 0, preset = 0;
	bool muted = false, fahrenheit = false;
	int co2 = 842;
	int held[KB_COUNT] = { 0 };
	bool long_done[KB_COUNT] = { false };
	uint32_t tick = 0;

	while (1) {
		for (int k = 0; k < KB_COUNT; k++) {
			bool pressed = gpio_pin_get_dt(&keys[k]) > 0;

			if (pressed) {
				held[k]++;
				if (k == KB_ENTER && held[k] == LONG_TICKS) {
					preset = preset ? 0 : 1;
					long_done[k] = true;
				}
			} else {
				if (held[k] > 2 && !long_done[k]) {
					switch (k) {
					case KB_UP:    zoom = (zoom + 1) % 4; break;
					case KB_DOWN:  quantity = (quantity + 1) % 3; break;
					case KB_MENU:  menu = (menu + 1) % 7; break;
					default:      muted = !muted; break;
					}
				}
				held[k] = 0;
				long_done[k] = false;
			}
		}

		if (tick % 100 == 0) { /* once per second */
			co2 = (co2 + 7) % 2000;
		}
		bool blink = (tick / 50) % 2;

		/* synthetic 17-sample history, column 0 = newest */
		int hist[DISP_CHART_COLS];
		for (int c = 0; c < DISP_CHART_COLS; c++) {
			int tri = (c * 3 + zoom * 5) % 24;
			tri = tri > 12 ? 24 - tri : tri;
			switch (quantity) {
			case DISP_Q_CO2:  hist[c] = 420 + tri * 40 + (c == 0 ? co2 % 40 : 0); break;
			case DISP_Q_RH:   hist[c] = 30 + tri; break;
			default:          hist[c] = 195 + tri * 4; break;
			}
		}

		disp_clear();
		disp_co2(co2, DISP_CO2_VALUE);
		disp_temp(235, fahrenheit);
		disp_rh(45);
		disp_chart(hist, DISP_CHART_COLS, quantity, fahrenheit, 5, blink, false);
		disp_zoom(zoom);
		disp_menu(menu);
		disp_alarm(true, muted);
		disp_preset(preset);
		lcd_flush();

		tick++;
		k_msleep(TICK_MS);
	}
	return 0;
}
```
